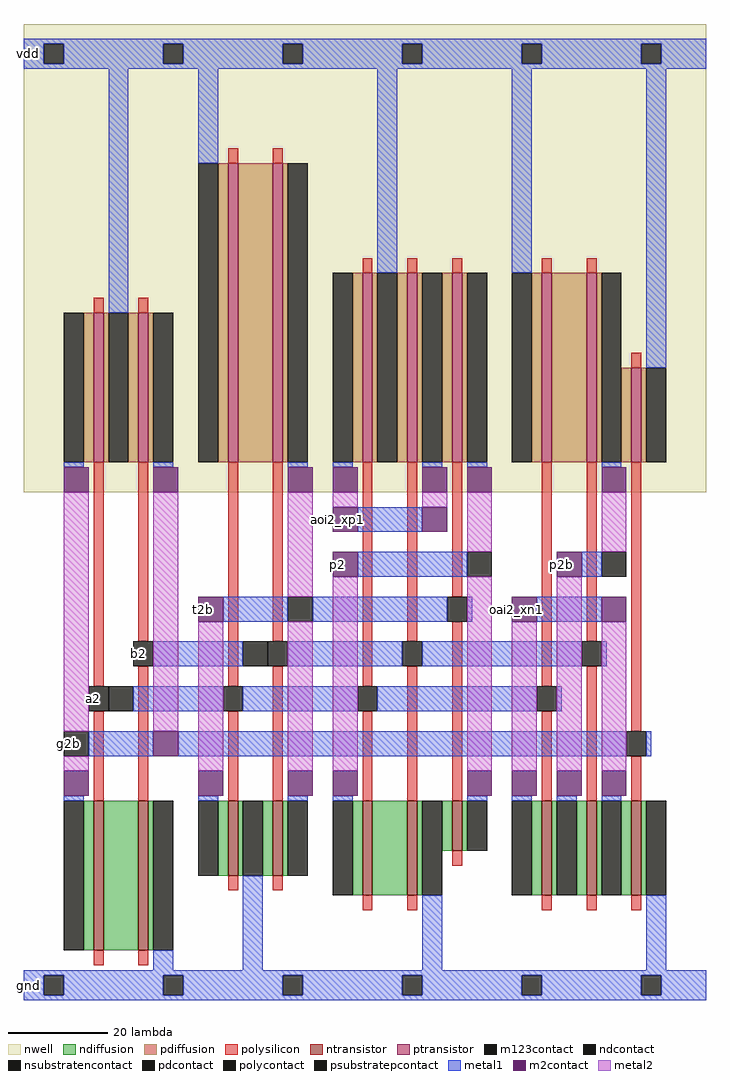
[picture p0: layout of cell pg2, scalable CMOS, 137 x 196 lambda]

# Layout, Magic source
magic
tech scmos
<< nwell >>
rect 0 102 137 196
<< ntransistor >>
rect 14 10 16 40
rect 23 10 25 40
rect 41 25 43 40
rect 50 25 52 40
rect 68 21 70 40
rect 77 21 79 40
rect 86 30 88 40
rect 104 21 106 40
rect 113 21 115 40
rect 122 21 124 40
<< ptransistor >>
rect 14 108 16 138
rect 23 108 25 138
rect 41 108 43 168
rect 50 108 52 168
rect 68 108 70 146
rect 77 108 79 146
rect 86 108 88 146
rect 104 108 106 146
rect 113 108 115 146
rect 122 108 124 127
<< ndiffusion >>
rect 12 10 14 40
rect 16 10 23 40
rect 25 10 26 40
rect 39 25 41 40
rect 43 25 44 40
rect 48 25 50 40
rect 52 25 53 40
rect 66 21 68 40
rect 70 21 77 40
rect 79 21 80 40
rect 84 30 86 40
rect 88 30 89 40
rect 102 21 104 40
rect 106 21 107 40
rect 111 21 113 40
rect 115 21 116 40
rect 120 21 122 40
rect 124 21 125 40
<< pdiffusion >>
rect 12 108 14 138
rect 16 108 17 138
rect 21 108 23 138
rect 25 108 26 138
rect 39 108 41 168
rect 43 108 50 168
rect 52 108 53 168
rect 66 108 68 146
rect 70 108 71 146
rect 75 108 77 146
rect 79 108 80 146
rect 84 108 86 146
rect 88 108 89 146
rect 102 108 104 146
rect 106 108 113 146
rect 115 108 116 146
rect 120 108 122 127
rect 124 108 125 127
<< ndcontact >>
rect 8 10 12 40
rect 26 10 30 40
rect 35 25 39 40
rect 44 25 48 40
rect 53 25 57 40
rect 62 21 66 40
rect 80 21 84 40
rect 89 30 93 40
rect 98 21 102 40
rect 107 21 111 40
rect 116 21 120 40
rect 125 21 129 40
<< pdcontact >>
rect 8 108 12 138
rect 17 108 21 138
rect 26 108 30 138
rect 35 108 39 168
rect 53 108 57 168
rect 62 108 66 146
rect 71 108 75 146
rect 80 108 84 146
rect 89 108 93 146
rect 98 108 102 146
rect 116 108 120 146
rect 125 108 129 127
<< psubstratepcontact >>
rect 4 1 8 5
rect 28 1 32 5
rect 52 1 56 5
rect 76 1 80 5
rect 100 1 104 5
rect 124 1 128 5
<< nsubstratencontact >>
rect 4 188 8 192
rect 28 188 32 192
rect 52 188 56 192
rect 76 188 80 192
rect 100 188 104 192
rect 124 188 128 192
<< polysilicon >>
rect 41 168 43 171
rect 50 168 52 171
rect 14 138 16 141
rect 23 138 25 141
rect 68 146 70 149
rect 77 146 79 149
rect 86 146 88 149
rect 104 146 106 149
rect 113 146 115 149
rect 122 127 124 130
rect 14 63 16 108
rect 23 72 25 108
rect 14 40 16 58
rect 23 40 25 67
rect 41 63 43 108
rect 50 72 52 108
rect 41 40 43 58
rect 50 40 52 67
rect 68 63 70 108
rect 77 72 79 108
rect 86 81 88 108
rect 68 40 70 58
rect 77 40 79 67
rect 86 40 88 76
rect 104 63 106 108
rect 113 72 115 108
rect 104 40 106 58
rect 113 40 115 67
rect 122 54 124 108
rect 122 40 124 49
rect 41 22 43 25
rect 50 22 52 25
rect 86 27 88 30
rect 68 18 70 21
rect 77 18 79 21
rect 104 18 106 21
rect 113 18 115 21
rect 122 18 124 21
rect 14 7 16 10
rect 23 7 25 10
<< polycontact >>
rect 22 67 26 72
rect 13 58 17 63
rect 49 67 53 72
rect 40 58 44 63
rect 85 76 89 81
rect 76 67 80 72
rect 67 58 71 63
rect 112 67 116 72
rect 103 58 107 63
rect 121 49 125 54
<< metal1 >>
rect 0 192 137 193
rect 0 188 4 192
rect 8 188 28 192
rect 32 188 52 192
rect 56 188 76 192
rect 80 188 100 192
rect 104 188 124 192
rect 128 188 137 192
rect 0 187 137 188
rect 17 138 21 187
rect 35 168 39 187
rect 71 146 75 187
rect 98 146 102 187
rect 8 107 12 108
rect 26 107 30 108
rect 53 107 57 108
rect 62 107 66 108
rect 80 107 84 108
rect 125 127 129 187
rect 89 107 93 108
rect 116 107 120 108
rect 67 94 80 99
rect 67 85 89 90
rect 112 85 116 90
rect 40 76 53 81
rect 58 76 85 81
rect 89 76 90 81
rect 103 76 116 81
rect 26 67 44 72
rect 53 67 76 72
rect 80 67 112 72
rect 116 67 117 72
rect 22 58 40 63
rect 44 58 67 63
rect 71 58 103 63
rect 107 58 108 63
rect 13 49 26 54
rect 31 49 121 54
rect 125 49 126 54
rect 8 40 12 41
rect 35 40 39 41
rect 53 40 57 41
rect 62 40 66 41
rect 89 40 93 41
rect 26 6 30 10
rect 44 6 48 25
rect 98 40 102 41
rect 107 40 111 41
rect 116 40 120 41
rect 80 6 84 21
rect 125 6 129 21
rect 0 5 137 6
rect 0 1 4 5
rect 8 1 28 5
rect 32 1 52 5
rect 56 1 76 5
rect 80 1 100 5
rect 104 1 124 5
rect 128 1 137 5
rect 0 0 137 1
<< m2contact >>
rect 8 102 13 107
rect 26 102 31 107
rect 53 102 58 107
rect 62 102 67 107
rect 80 102 85 107
rect 89 102 94 107
rect 116 102 121 107
rect 62 94 67 99
rect 80 94 85 99
rect 62 85 67 90
rect 107 85 112 90
rect 35 76 40 81
rect 98 76 103 81
rect 116 76 121 81
rect 26 49 31 54
rect 8 41 13 46
rect 35 41 40 46
rect 53 41 58 46
rect 62 41 67 46
rect 89 41 94 46
rect 98 41 103 46
rect 107 41 112 46
rect 116 41 121 46
<< metal2 >>
rect 8 54 13 102
rect 26 54 31 102
rect 53 81 58 102
rect 62 99 67 102
rect 80 99 85 102
rect 89 90 94 102
rect 116 90 121 102
rect 8 46 13 49
rect 35 46 40 76
rect 53 46 58 76
rect 62 46 67 85
rect 89 46 94 85
rect 98 46 103 76
rect 107 46 112 85
rect 116 46 121 76
<< m123contact >>
rect 17 58 22 63
rect 8 49 13 54
rect 53 76 58 81
rect 44 67 49 72
rect 89 85 94 90
rect 116 85 121 90
<< labels >>
rlabel metal1 13 58 15 63 0 a2
port 1 nsew
rlabel metal1 22 67 24 72 0 b2
port 2 nsew
rlabel metal1 8 49 10 54 0 g2b
port 3 nsew
rlabel m2contact 62 85 64 90 0 p2
port 4 nsew
rlabel m2contact 107 85 109 90 0 p2b
port 5 nsew
rlabel m2contact 35 76 37 81 0 t2b
port 6 nsew
rlabel m2contact 62 94 64 99 0 aoi2_xp1
rlabel m2contact 98 76 100 81 0 oai2_xn1
rlabel metal1 0 187 2 193 0 vdd
port 7 nsew
rlabel metal1 0 0 2 6 0 gnd
port 8 nsew
<< end >>
